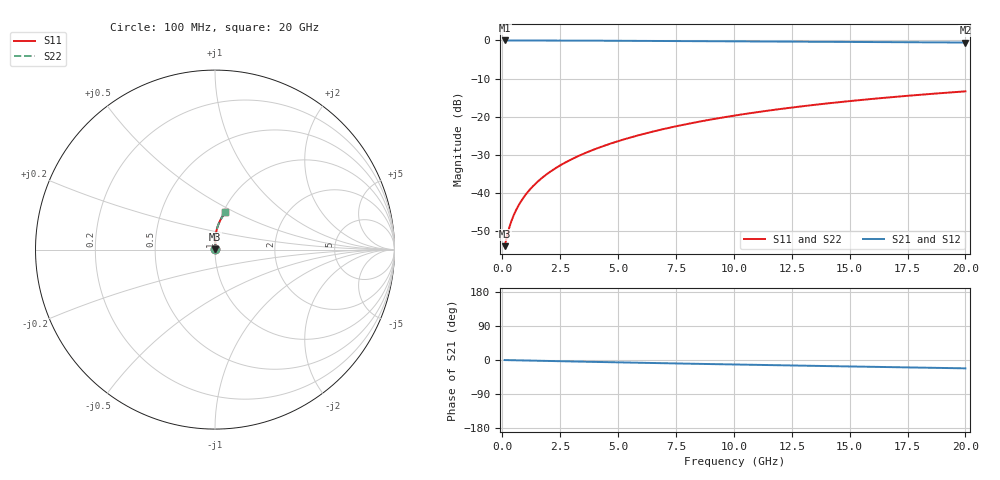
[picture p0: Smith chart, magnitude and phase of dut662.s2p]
! Touchstone file exported from HFSS 2024.1.0
!  File:  C:/UserFiles/LocalFiles/RDL_TSV_Batchsim/temp_RDL_bottom_662_1779785811.aedt
!  Generated:  04:59:23 PM May 26, 2026
!  Design:  RDL_bottom
!  Project:  temp_RDL_bottom_662_1779785811
!  Setup:  Setup1
!  Solution:  Sweep
! Variables:
!  dtsv = 10.80580581um
!  hbump = 3um
!  htsv = 74.22um
!  ldown = 297.87um
!  lrdl = 100um
!  p = 40
!  p1 = 46.71um
!  rhole = 1um
!  t = 450um
!  tdown = 3.04um
!  trdl = 3.915915916um
!  wdown = 23.82um
!  wrdl = 20um
# GHz S MA R 50.000000
! Terminal data exported
! Port[1] = RDL1_T1
! Port[2] = RDL1_T2
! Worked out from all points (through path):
!   200 points, 100 MHz to 20 GHz, reference 50 ohm
!   highest |S21| = -0.02 dB at 100 MHz (marker M1); lowest = -0.6 dB at 20 GHz (marker M2)
!   group delay of S21, straight-line fit = 3.03 ps
!   lowest |S11| = -54.0 dB at 100 MHz (marker M3), VSWR 1.00, Z = 50.2 + j0.103 ohm
!   |S11| at or under -10 dB: start of sweep to end of sweep
!   |S22| runs from -54.0 to -13.4 dB; largest |S21 - S12| = 3.1e-15
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0.1  0.002004 30.7  0.9983 -0.1  0.9983 -0.1  0.002004 30.7
! Gamma 0 0 0 0
! Port Impedance 50 0 50 0
0.2  0.002695 48.2  0.9982 -0.3  0.9982 -0.3  0.002695 48.2
0.3  0.0035 57.6  0.9981 -0.4  0.9981 -0.4  0.0035 57.6
0.4  0.004328 63.3  0.998 -0.5  0.998 -0.5  0.004328 63.3
0.5  0.005161 67.2  0.9979 -0.7  0.9979 -0.7  0.005161 67.2
0.6  0.005999 70.2  0.9978 -0.8  0.9978 -0.8  0.005999 70.2
0.8  0.007693 74.4  0.9976 -1.0  0.9976 -1.0  0.007693 74.4
1.1  0.01028 78.4  0.9973 -1.4  0.9973 -1.4  0.01028 78.4
1.3  0.01204 80.3  0.9971 -1.7  0.9971 -1.7  0.01204 80.3
1.6  0.01471 82.3  0.9967 -2.1  0.9967 -2.1  0.01471 82.3
2.1  0.01926 84.6  0.9959 -2.7  0.9959 -2.7  0.01926 84.6
2.7  0.02485 86.3  0.9948 -3.4  0.9948 -3.4  0.02485 86.3
3.5  0.03255 87.6  0.993 -4.4  0.993 -4.4  0.03255 87.6
4.2  0.03951 88.3  0.9911 -5.3  0.9911 -5.3  0.03951 88.3
5  0.04771 88.6  0.9887 -6.2  0.9887 -6.2  0.04771 88.6
6.8  0.067 88.4  0.9828 -8.3  0.9828 -8.3  0.06699 88.4
8.4  0.08485 87.3  0.9773 -10.1  0.9773 -10.1  0.08484 87.3
10.1  0.1042 85.8  0.9714 -11.9  0.9714 -11.9  0.1042 85.8
11.7  0.1225 84.1  0.9659 -13.6  0.9659 -13.6  0.1225 84.1
13.4  0.1419 82.2  0.9601 -15.4  0.9601 -15.4  0.1419 82.2
16.7  0.179 78.4  0.949 -18.7  0.949 -18.7  0.1789 78.4
20  0.2147 74.6  0.9379 -22.0  0.9379 -22.0  0.2147 74.6
